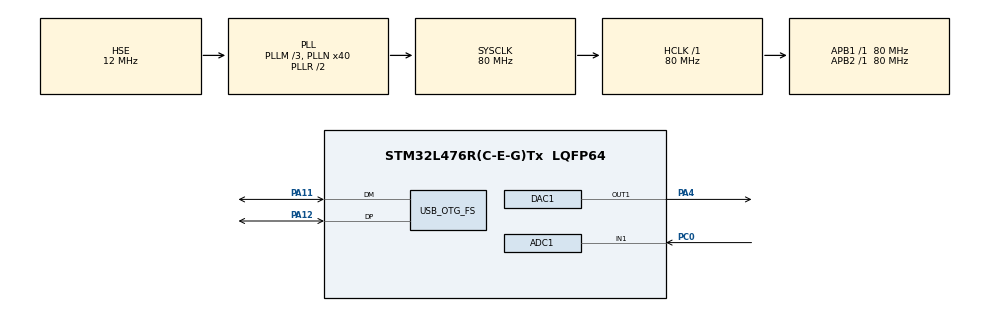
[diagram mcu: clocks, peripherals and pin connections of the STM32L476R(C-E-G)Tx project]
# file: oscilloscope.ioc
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ADC1.Channel-0\#ChannelRegularConversion=ADC_CHANNEL_1
ADC1.DMAContinuousRequests=ENABLE
ADC1.ExternalTrigConv=ADC_EXTERNALTRIG_T1_TRGO
ADC1.NbrOfConversion=1
ADC1.NbrOfConversionFlag=1
ADC1.OffsetNumber-0\#ChannelRegularConversion=ADC_OFFSET_NONE
ADC1.Rank-0\#ChannelRegularConversion=1
ADC1.SamplingTime-0\#ChannelRegularConversion=ADC_SAMPLETIME_47CYCLES_5
ADC1.master=1
DAC1.DAC_Trigger-DAC_OUT1=DAC_TRIGGER_T2_TRGO
Dma.ADC1.0.Direction=DMA_PERIPH_TO_MEMORY
Dma.ADC1.0.Instance=DMA1_Channel1
Dma.ADC1.0.MemDataAlignment=DMA_MDATAALIGN_HALFWORD
Dma.ADC1.0.MemInc=DMA_MINC_ENABLE
Dma.ADC1.0.Mode=DMA_CIRCULAR
Dma.ADC1.0.PeriphDataAlignment=DMA_PDATAALIGN_HALFWORD
Dma.ADC1.0.PeriphInc=DMA_PINC_DISABLE
Dma.ADC1.0.Priority=DMA_PRIORITY_LOW
Dma.DAC_CH1.1.Direction=DMA_MEMORY_TO_PERIPH
Dma.DAC_CH1.1.Instance=DMA1_Channel3
Dma.DAC_CH1.1.MemDataAlignment=DMA_MDATAALIGN_HALFWORD
Dma.DAC_CH1.1.MemInc=DMA_MINC_ENABLE
Dma.DAC_CH1.1.Mode=DMA_CIRCULAR
Dma.DAC_CH1.1.PeriphDataAlignment=DMA_PDATAALIGN_HALFWORD
Dma.DAC_CH1.1.PeriphInc=DMA_PINC_DISABLE
Dma.DAC_CH1.1.Priority=DMA_PRIORITY_LOW
Dma.Request0=ADC1
Dma.Request1=DAC_CH1
Mcu.Family=STM32L4
Mcu.Name=STM32L476R(C-E-G)Tx
Mcu.Package=LQFP64
NVIC.DMA1_Channel1_IRQn=true\:0\:0\:false\:false\:true\:false\:true
NVIC.DMA1_Channel3_IRQn=true\:0\:0\:false\:false\:true\:false\:true
NVIC.OTG_FS_IRQn=true\:0\:0\:false\:false\:true\:false\:true
NVIC.PriorityGroup=NVIC_PRIORITYGROUP_4
PA11.Mode=Device_Only
PA11.Signal=USB_OTG_FS_DM
PA12.Mode=Device_Only
PA12.Signal=USB_OTG_FS_DP
PA13\ (JTMS-SWDIO).Mode=Serial_Wire
PA13\ (JTMS-SWDIO).Signal=SYS_JTMS-SWDIO
PA14\ (JTCK-SWCLK).Mode=Serial_Wire
PA14\ (JTCK-SWCLK).Signal=SYS_JTCK-SWCLK
PA4.Signal=COMP_DAC11_group
PC0.Signal=ADCx_IN1
PH0-OSC_IN\ (PH0).Mode=HSE-External-Oscillator
PH0-OSC_IN\ (PH0).Signal=RCC_OSC_IN
PH1-OSC_OUT\ (PH1).Mode=HSE-External-Oscillator
PH1-OSC_OUT\ (PH1).Signal=RCC_OSC_OUT
ProjectManager.HeapSize=0x200
ProjectManager.StackSize=0x400
ProjectManager.TargetToolchain=STM32CubeIDE
RCC.ADCFreq_Value=48000000
RCC.AHBFreq_Value=80000000
RCC.APB1Freq_Value=80000000
RCC.APB1TimFreq_Value=80000000
RCC.APB2Freq_Value=80000000
RCC.APB2TimFreq_Value=80000000
RCC.CortexFreq_Value=80000000
RCC.HCLKFreq_Value=80000000
RCC.HSE_VALUE=12000000
RCC.HSI_VALUE=16000000
RCC.LSE_VALUE=32768
RCC.MSI_VALUE=4000000
RCC.PLLM=3
RCC.PLLN=40
RCC.PLLSAI1N=24
RCC.PLLSourceVirtual=RCC_PLLSOURCE_HSE
RCC.SYSCLKFreq_VALUE=80000000
RCC.SYSCLKSource=RCC_SYSCLKSOURCE_PLLCLK
RCC.USBFreq_Value=48000000
RCC.VCOOutputFreq_Value=160000000
SH.ADCx_IN1.0=ADC1_IN1,IN1-Single-Ended
SH.COMP_DAC11_group.0=DAC1_OUT1,DAC_OUT1
TIM1.Period=399
TIM1.Prescaler=0
TIM1.TIM_MasterOutputTrigger=TIM_TRGO_UPDATE
TIM1.TIM_MasterOutputTrigger2=TIM_TRGO2_RESET
TIM2.Period=399
TIM2.TIM_MasterOutputTrigger=TIM_TRGO_UPDATE
USB_DEVICE.CLASS_NAME_FS=CDC
USB_DEVICE.MANUFACTURER_STRING=EKS_Production
USB_DEVICE.PRODUCT_STRING_CDC_FS=Oscillograph_device
USB_DEVICE.VirtualMode=Cdc
USB_DEVICE.VirtualModeFS=Cdc_FS
USB_OTG_FS.VirtualMode=Device_Only
VP_TIM1_VS_ClockSourceINT.Mode=Internal
VP_TIM2_VS_ClockSourceINT.Mode=Internal
VP_USB_DEVICE_VS_USB_DEVICE_CDC_FS.Mode=CDC_FS
board=custom

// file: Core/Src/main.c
/* USER CODE BEGIN Header */
/**
  ******************************************************************************
  * @file           : main.c
  * @brief          : Main program body
  ******************************************************************************
  * @attention
  *
  * <h2><center>&copy; Copyright (c) 2023 STMicroelectronics.
  * All rights reserved.</center></h2>
  *
  * This software component is licensed by ST under BSD 3-Clause license,
  * the "License"; You may not use this file except in compliance with the
  * License. You may obtain a copy of the License at:
  *                        opensource.org/licenses/BSD-3-Clause
  *
  ******************************************************************************
  */
/* USER CODE END Header */
#include "main.h"
#include "usb_device.h"
#include "math.h"

ADC_HandleTypeDef hadc1;
DMA_HandleTypeDef hdma_adc1;

DAC_HandleTypeDef hdac1;
DMA_HandleTypeDef hdma_dac_ch1;

TIM_HandleTypeDef htim1;
TIM_HandleTypeDef htim2;

/* USER CODE BEGIN PV */
uint16_t adc_buffer[BUFFER_SIZE];
uint16_t calib_sinus[66];
uint8_t* trans_buffer;
char buf_complete = 0,
	 device_is_enable = 0;
/* USER CODE END PV */

void SystemClock_Config(void);
void PeriphCommonClock_Config(void);
static void MX_GPIO_Init(void);
static void MX_DMA_Init(void);
static void MX_ADC1_Init(void);
static void MX_TIM1_Init(void);
static void MX_DAC1_Init(void);
static void MX_TIM2_Init(void);

int main(void)
{
  /* USER CODE BEGIN 1 */
	// Complete calibration value
	for(int i=0; i<66; ++i)
		calib_sinus[i] = 1500 * sin(M_PI*(double)i/33) + 2000;
  /* USER CODE END 1 */

  /* MCU Configuration--------------------------------------------------------*/

  /* Reset of all peripherals, Initializes the Flash interface and the Systick. */
  HAL_Init();

  /* Configure the system clock */
  SystemClock_Config();

/* Configure the peripherals common clocks */
  PeriphCommonClock_Config();

  /* Initialize all configured peripherals */
  MX_GPIO_Init();
  MX_USB_DEVICE_Init();
  MX_DMA_Init();
  MX_ADC1_Init();
  MX_TIM1_Init();
  MX_DAC1_Init();
  MX_TIM2_Init();
  /* USER CODE BEGIN 2 */
  trans_buffer = &(((uint8_t*)adc_buffer)[BUFFER_SIZE]);
  HAL_ADC_Start_DMA(&hadc1, (uint32_t*)adc_buffer, BUFFER_SIZE);
  // Start calibration signal
  HAL_TIM_Base_Start(&htim2);
  HAL_DAC_Start_DMA(&hdac1, DAC_CHANNEL_1, (uint32_t*) calib_sinus, 66, DAC_ALIGN_12B_R);
  /* USER CODE END 2 */

  /* Infinite loop */
  /* USER CODE BEGIN WHILE */
  while (1)
  {
	  if(buf_complete)
	  {
		  CDC_Transmit_FS((uint8_t*) trans_buffer, BUFFER_SIZE);
		  buf_complete = 0;
	  }
    /* USER CODE END WHILE */

  }
}

void SystemClock_Config(void)
{
  RCC_OscInitTypeDef RCC_OscInitStruct = {0};
  RCC_ClkInitTypeDef RCC_ClkInitStruct = {0};

  /** Configure the main internal regulator output voltage
  */
  if (HAL_PWREx_ControlVoltageScaling(PWR_REGULATOR_VOLTAGE_SCALE1) != HAL_OK)
  {
    Error_Handler();
  }
  /** Initializes the RCC Oscillators according to the specified parameters
  * in the RCC_OscInitTypeDef structure.
  */
  RCC_OscInitStruct.OscillatorType = RCC_OSCILLATORTYPE_HSE;
  RCC_OscInitStruct.HSEState = RCC_HSE_ON;
  RCC_OscInitStruct.PLL.PLLState = RCC_PLL_ON;
  RCC_OscInitStruct.PLL.PLLSource = RCC_PLLSOURCE_HSE;
  RCC_OscInitStruct.PLL.PLLM = 3;
  RCC_OscInitStruct.PLL.PLLN = 40;
  RCC_OscInitStruct.PLL.PLLP = RCC_PLLP_DIV7;
  RCC_OscInitStruct.PLL.PLLQ = RCC_PLLQ_DIV2;
  RCC_OscInitStruct.PLL.PLLR = RCC_PLLR_DIV2;
  if (HAL_RCC_OscConfig(&RCC_OscInitStruct) != HAL_OK)
  {
    Error_Handler();
  }
  /** Initializes the CPU, AHB and APB buses clocks
  */
  RCC_ClkInitStruct.ClockType = RCC_CLOCKTYPE_HCLK|RCC_CLOCKTYPE_SYSCLK
                              |RCC_CLOCKTYPE_PCLK1|RCC_CLOCKTYPE_PCLK2;
  RCC_ClkInitStruct.SYSCLKSource = RCC_SYSCLKSOURCE_PLLCLK;
  RCC_ClkInitStruct.AHBCLKDivider = RCC_SYSCLK_DIV1;
  RCC_ClkInitStruct.APB1CLKDivider = RCC_HCLK_DIV1;
  RCC_ClkInitStruct.APB2CLKDivider = RCC_HCLK_DIV1;

  if (HAL_RCC_ClockConfig(&RCC_ClkInitStruct, FLASH_LATENCY_4) != HAL_OK)
  {
    Error_Handler();
  }
}

void PeriphCommonClock_Config(void)
{
  RCC_PeriphCLKInitTypeDef PeriphClkInit = {0};

  /** Initializes the peripherals clock
  */
  PeriphClkInit.PeriphClockSelection = RCC_PERIPHCLK_USB|RCC_PERIPHCLK_ADC;
  PeriphClkInit.AdcClockSelection = RCC_ADCCLKSOURCE_PLLSAI1;
  PeriphClkInit.UsbClockSelection = RCC_USBCLKSOURCE_PLLSAI1;
  PeriphClkInit.PLLSAI1.PLLSAI1Source = RCC_PLLSOURCE_HSE;
  PeriphClkInit.PLLSAI1.PLLSAI1M = 3;
  PeriphClkInit.PLLSAI1.PLLSAI1N = 24;
  PeriphClkInit.PLLSAI1.PLLSAI1P = RCC_PLLP_DIV7;
  PeriphClkInit.PLLSAI1.PLLSAI1Q = RCC_PLLQ_DIV2;
  PeriphClkInit.PLLSAI1.PLLSAI1R = RCC_PLLR_DIV2;
  PeriphClkInit.PLLSAI1.PLLSAI1ClockOut = RCC_PLLSAI1_48M2CLK|RCC_PLLSAI1_ADC1CLK;
  if (HAL_RCCEx_PeriphCLKConfig(&PeriphClkInit) != HAL_OK)
  {
    Error_Handler();
  }
}

static void MX_ADC1_Init(void)
{

  ADC_MultiModeTypeDef multimode = {0};
  ADC_ChannelConfTypeDef sConfig = {0};

  /** Common config
  */
  hadc1.Instance = ADC1;
  hadc1.Init.ClockPrescaler = ADC_CLOCK_ASYNC_DIV1;
  hadc1.Init.Resolution = ADC_RESOLUTION_12B;
  hadc1.Init.DataAlign = ADC_DATAALIGN_RIGHT;
  hadc1.Init.ScanConvMode = ADC_SCAN_DISABLE;
  hadc1.Init.EOCSelection = ADC_EOC_SINGLE_CONV;
  hadc1.Init.LowPowerAutoWait = DISABLE;
  hadc1.Init.ContinuousConvMode = DISABLE;
  hadc1.Init.NbrOfConversion = 1;
  hadc1.Init.DiscontinuousConvMode = DISABLE;
  hadc1.Init.ExternalTrigConv = ADC_EXTERNALTRIG_T1_TRGO;
  hadc1.Init.ExternalTrigConvEdge = ADC_EXTERNALTRIGCONVEDGE_RISING;
  hadc1.Init.DMAContinuousRequests = ENABLE;
  hadc1.Init.Overrun = ADC_OVR_DATA_PRESERVED;
  hadc1.Init.OversamplingMode = DISABLE;
  if (HAL_ADC_Init(&hadc1) != HAL_OK)
  {
    Error_Handler();
  }
  /** Configure the ADC multi-mode
  */
  multimode.Mode = ADC_MODE_INDEPENDENT;
  if (HAL_ADCEx_MultiModeConfigChannel(&hadc1, &multimode) != HAL_OK)
  {
    Error_Handler();
  }
  /** Configure Regular Channel
  */
  sConfig.Channel = ADC_CHANNEL_1;
  sConfig.Rank = ADC_REGULAR_RANK_1;
  sConfig.SamplingTime = ADC_SAMPLETIME_47CYCLES_5;
  sConfig.SingleDiff = ADC_SINGLE_ENDED;
  sConfig.OffsetNumber = ADC_OFFSET_NONE;
  sConfig.Offset = 0;
  if (HAL_ADC_ConfigChannel(&hadc1, &sConfig) != HAL_OK)
  {
    Error_Handler();
  }

}

static void MX_DAC1_Init(void)
{

  DAC_ChannelConfTypeDef sConfig = {0};

  /** DAC Initialization
  */
  hdac1.Instance = DAC1;
  if (HAL_DAC_Init(&hdac1) != HAL_OK)
  {
    Error_Handler();
  }
  /** DAC channel OUT1 config
  */
  sConfig.DAC_SampleAndHold = DAC_SAMPLEANDHOLD_DISABLE;
  sConfig.DAC_Trigger = DAC_TRIGGER_T2_TRGO;
  sConfig.DAC_OutputBuffer = DAC_OUTPUTBUFFER_ENABLE;
  sConfig.DAC_ConnectOnChipPeripheral = DAC_CHIPCONNECT_DISABLE;
  sConfig.DAC_UserTrimming = DAC_TRIMMING_FACTORY;
  if (HAL_DAC_ConfigChannel(&hdac1, &sConfig, DAC_CHANNEL_1) != HAL_OK)
  {
    Error_Handler();
  }

}

static void MX_TIM1_Init(void)
{

  TIM_ClockConfigTypeDef sClockSourceConfig = {0};
  TIM_MasterConfigTypeDef sMasterConfig = {0};

  htim1.Instance = TIM1;
  htim1.Init.Prescaler = 0;
  htim1.Init.CounterMode = TIM_COUNTERMODE_UP;
  htim1.Init.Period = 399;
  htim1.Init.ClockDivision = TIM_CLOCKDIVISION_DIV1;
  htim1.Init.RepetitionCounter = 0;
  htim1.Init.AutoReloadPreload = TIM_AUTORELOAD_PRELOAD_DISABLE;
  if (HAL_TIM_Base_Init(&htim1) != HAL_OK)
  {
    Error_Handler();
  }
  sClockSourceConfig.ClockSource = TIM_CLOCKSOURCE_INTERNAL;
  if (HAL_TIM_ConfigClockSource(&htim1, &sClockSourceConfig) != HAL_OK)
  {
    Error_Handler();
  }
  sMasterConfig.MasterOutputTrigger = TIM_TRGO_UPDATE;
  sMasterConfig.MasterOutputTrigger2 = TIM_TRGO2_RESET;
  sMasterConfig.MasterSlaveMode = TIM_MASTERSLAVEMODE_DISABLE;
  if (HAL_TIMEx_MasterConfigSynchronization(&htim1, &sMasterConfig) != HAL_OK)
  {
    Error_Handler();
  }

}

static void MX_TIM2_Init(void)
{

  TIM_ClockConfigTypeDef sClockSourceConfig = {0};
  TIM_MasterConfigTypeDef sMasterConfig = {0};

  htim2.Instance = TIM2;
  htim2.Init.Prescaler = 0;
  htim2.Init.CounterMode = TIM_COUNTERMODE_UP;
  htim2.Init.Period = 399;
  htim2.Init.ClockDivision = TIM_CLOCKDIVISION_DIV1;
  htim2.Init.AutoReloadPreload = TIM_AUTORELOAD_PRELOAD_DISABLE;
  if (HAL_TIM_Base_Init(&htim2) != HAL_OK)
  {
    Error_Handler();
  }
  sClockSourceConfig.ClockSource = TIM_CLOCKSOURCE_INTERNAL;
  if (HAL_TIM_ConfigClockSource(&htim2, &sClockSourceConfig) != HAL_OK)
  {
    Error_Handler();
  }
  sMasterConfig.MasterOutputTrigger = TIM_TRGO_UPDATE;
  sMasterConfig.MasterSlaveMode = TIM_MASTERSLAVEMODE_DISABLE;
  if (HAL_TIMEx_MasterConfigSynchronization(&htim2, &sMasterConfig) != HAL_OK)
  {
    Error_Handler();
  }

}

static void MX_DMA_Init(void)
{

  /* DMA controller clock enable */
  __HAL_RCC_DMA1_CLK_ENABLE();

  /* DMA interrupt init */
  /* DMA1_Channel1_IRQn interrupt configuration */
  HAL_NVIC_SetPriority(DMA1_Channel1_IRQn, 0, 0);
  HAL_NVIC_EnableIRQ(DMA1_Channel1_IRQn);
  /* DMA1_Channel3_IRQn interrupt configuration */
  HAL_NVIC_SetPriority(DMA1_Channel3_IRQn, 0, 0);
  HAL_NVIC_EnableIRQ(DMA1_Channel3_IRQn);

}

static void MX_GPIO_Init(void)
{

  /* GPIO Ports Clock Enable */
  __HAL_RCC_GPIOH_CLK_ENABLE();
  __HAL_RCC_GPIOC_CLK_ENABLE();
  __HAL_RCC_GPIOA_CLK_ENABLE();

}

/* USER CODE BEGIN 4 */
void HAL_ADC_ConvHalfCpltCallback(ADC_HandleTypeDef* hadc)
{
  if(hadc->Instance == ADC1)
  {
	  trans_buffer = (uint8_t*)adc_buffer;
	  buf_complete = 1;
  }
}

void HAL_ADC_ConvCpltCallback(ADC_HandleTypeDef* hadc)
{
  if(hadc->Instance == ADC1)
  {
	  trans_buffer = &(((uint8_t*)adc_buffer)[BUFFER_SIZE]);
	  buf_complete = 1;
  }
}
/* USER CODE END 4 */

void Error_Handler(void)
{
  __disable_irq();
  while (1)
  {
  }
}

/************************ (C) COPYRIGHT STMicroelectronics *****END OF FILE****/
